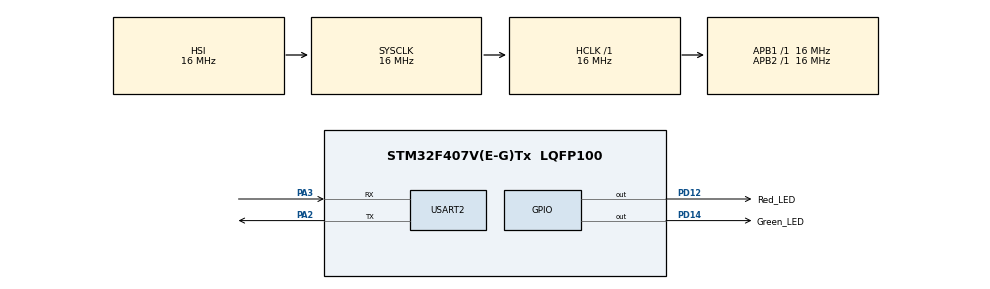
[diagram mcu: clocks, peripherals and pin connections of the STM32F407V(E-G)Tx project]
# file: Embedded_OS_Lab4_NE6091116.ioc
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Mcu.Family=STM32F4
Mcu.Name=STM32F407V(E-G)Tx
Mcu.Package=LQFP100
NVIC.PriorityGroup=NVIC_PRIORITYGROUP_4
NVIC.TIM6_DAC_IRQn=true\:0\:0\:false\:false\:true\:false\:true
NVIC.TimeBase=TIM6_DAC_IRQn
NVIC.TimeBaseIP=TIM6
PA13.Mode=Serial_Wire
PA13.Signal=SYS_JTMS-SWDIO
PA14.Mode=Serial_Wire
PA14.Signal=SYS_JTCK-SWCLK
PA2.Mode=Asynchronous
PA2.Signal=USART2_TX
PA3.Mode=Asynchronous
PA3.Signal=USART2_RX
PD12.GPIO_Label=Red_LED
PD12.Signal=GPIO_Output
PD14.GPIO_Label=Green_LED
PD14.Signal=GPIO_Output
ProjectManager.HeapSize=0x200
ProjectManager.StackSize=0x400
ProjectManager.TargetToolchain=STM32CubeIDE
RCC.AHBFreq_Value=16000000
RCC.APB1Freq_Value=16000000
RCC.APB2Freq_Value=16000000
RCC.CortexFreq_Value=16000000
RCC.HSE_VALUE=25000000
RCC.HSI_VALUE=16000000
RCC.LSE_VALUE=32768
RCC.SYSCLKFreq_VALUE=16000000
RCC.VCOOutputFreq_Value=192000000
USART2.VirtualMode=VM_ASYNC
VP_SYS_VS_tim6.Mode=TIM6
board=custom

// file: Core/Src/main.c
/* USER CODE BEGIN Header */
/**
  ******************************************************************************
  * @file           : main.c
  * @brief          : Main program body
  ******************************************************************************
  * @attention
  *
  * <h2><center>&copy; Copyright (c) 2021 STMicroelectronics.
  * All rights reserved.</center></h2>
  *
  * This software component is licensed by ST under BSD 3-Clause license,
  * the "License"; You may not use this file except in compliance with the
  * License. You may obtain a copy of the License at:
  *                        opensource.org/licenses/BSD-3-Clause
  *
  ******************************************************************************
  */
/* USER CODE END Header */
#include "main.h"

/* USER CODE BEGIN Includes */
#include "stdio.h"
#include "string.h"
#include "stdlib.h"
#include "FreeRTOS.h"
#include "task.h"
/* USER CODE END Includes */

UART_HandleTypeDef huart2;

void SystemClock_Config(void);
static void MX_GPIO_Init(void);
static void MX_USART2_UART_Init(void);

/* USER CODE BEGIN 0 */
void RedLEDTask(void const * argument);
void GreenLEDTask(void const * argument);
void Task1(void const * argument);
void Task2(void const * argument);
void Task3(void const * argument);
void PrintTask(void const * argument);
/* USER CODE END 0 */

int main(void)
{

  /* MCU Configuration--------------------------------------------------------*/

  /* Reset of all peripherals, Initializes the Flash interface and the Systick. */
  HAL_Init();

  /* Configure the system clock */
  SystemClock_Config();

  /* Initialize all configured peripherals */
  MX_GPIO_Init();
  MX_USART2_UART_Init();
  /* USER CODE BEGIN 2 */
  xTaskCreate(RedLEDTask,"RedLEDTask",100,NULL,0,NULL);
  xTaskCreate(Task1,"Task1",50,NULL,0,NULL);
  xTaskCreate(Task2,"Task2",30,NULL,0,NULL);
  xTaskCreate(GreenLEDTask,"GreenLEDTask",130,NULL,0,NULL);
  xTaskCreate(Task3,"Task3",40,NULL,0,NULL);
  xTaskCreate(PrintTask,"PrintTask",130,NULL,0,NULL);
  vTaskStartScheduler();
  /* USER CODE END 2 */

  /* Infinite loop */
  while (1)
  {

  }
}

void SystemClock_Config(void)
{
  RCC_OscInitTypeDef RCC_OscInitStruct = {0};
  RCC_ClkInitTypeDef RCC_ClkInitStruct = {0};

  /** Configure the main internal regulator output voltage
  */
  __HAL_RCC_PWR_CLK_ENABLE();
  __HAL_PWR_VOLTAGESCALING_CONFIG(PWR_REGULATOR_VOLTAGE_SCALE1);
  /** Initializes the RCC Oscillators according to the specified parameters
  * in the RCC_OscInitTypeDef structure.
  */
  RCC_OscInitStruct.OscillatorType = RCC_OSCILLATORTYPE_HSI;
  RCC_OscInitStruct.HSIState = RCC_HSI_ON;
  RCC_OscInitStruct.HSICalibrationValue = RCC_HSICALIBRATION_DEFAULT;
  RCC_OscInitStruct.PLL.PLLState = RCC_PLL_NONE;
  if (HAL_RCC_OscConfig(&RCC_OscInitStruct) != HAL_OK)
  {
    Error_Handler();
  }
  /** Initializes the CPU, AHB and APB buses clocks
  */
  RCC_ClkInitStruct.ClockType = RCC_CLOCKTYPE_HCLK|RCC_CLOCKTYPE_SYSCLK
                              |RCC_CLOCKTYPE_PCLK1|RCC_CLOCKTYPE_PCLK2;
  RCC_ClkInitStruct.SYSCLKSource = RCC_SYSCLKSOURCE_HSI;
  RCC_ClkInitStruct.AHBCLKDivider = RCC_SYSCLK_DIV1;
  RCC_ClkInitStruct.APB1CLKDivider = RCC_HCLK_DIV1;
  RCC_ClkInitStruct.APB2CLKDivider = RCC_HCLK_DIV1;

  if (HAL_RCC_ClockConfig(&RCC_ClkInitStruct, FLASH_LATENCY_0) != HAL_OK)
  {
    Error_Handler();
  }
}

static void MX_USART2_UART_Init(void)
{

  huart2.Instance = USART2;
  huart2.Init.BaudRate = 115200;
  huart2.Init.WordLength = UART_WORDLENGTH_8B;
  huart2.Init.StopBits = UART_STOPBITS_1;
  huart2.Init.Parity = UART_PARITY_NONE;
  huart2.Init.Mode = UART_MODE_TX_RX;
  huart2.Init.HwFlowCtl = UART_HWCONTROL_NONE;
  huart2.Init.OverSampling = UART_OVERSAMPLING_16;
  if (HAL_UART_Init(&huart2) != HAL_OK)
  {
    Error_Handler();
  }

}

static void MX_GPIO_Init(void)
{
  GPIO_InitTypeDef GPIO_InitStruct = {0};

  /* GPIO Ports Clock Enable */
  __HAL_RCC_GPIOA_CLK_ENABLE();
  __HAL_RCC_GPIOD_CLK_ENABLE();

  /*Configure GPIO pin Output Level */
  HAL_GPIO_WritePin(GPIOD, Red_LED_Pin|Green_LED_Pin, GPIO_PIN_RESET);

  /*Configure GPIO pins : Red_LED_Pin Green_LED_Pin */
  GPIO_InitStruct.Pin = Red_LED_Pin|Green_LED_Pin;
  GPIO_InitStruct.Mode = GPIO_MODE_OUTPUT_PP;
  GPIO_InitStruct.Pull = GPIO_NOPULL;
  GPIO_InitStruct.Speed = GPIO_SPEED_FREQ_LOW;
  HAL_GPIO_Init(GPIOD, &GPIO_InitStruct);

}

/* USER CODE BEGIN 4 */
void RedLEDTask(void const * argument)
{
	for(;;)
	{
		HAL_GPIO_TogglePin(GPIOD, GPIO_PIN_14);
		vTaskDelay(500);
	}
}
void GreenLEDTask(void const * argument)
{
	for(;;)
	{
		HAL_GPIO_TogglePin(GPIOD, GPIO_PIN_12);
		vTaskDelay(1000);
	}
}
void Task1(void const * argument)
{
	for(;;)
	{
		vTaskDelete( NULL );
	}
}
void Task2(void const * argument)
{
	for(;;)
	{
		vTaskDelete( NULL );
	}
}

void Task3(void const * argument)
{
	for(;;)
	{
		vTaskDelete( NULL );
	}
}
void PrintTask(void const * argument)
{
	for(;;)
	{
		vPrintFreeList();
		vTaskDelay(3000);
	}
}
/* USER CODE END 4 */

 /**
  * @brief  Period elapsed callback in non blocking mode
  * @note   This function is called  when TIM6 interrupt took place, inside
  * HAL_TIM_IRQHandler(). It makes a direct call to HAL_IncTick() to increment
  * a global variable "uwTick" used as application time base.
  * @param  htim : TIM handle
  * @retval None
  */
void HAL_TIM_PeriodElapsedCallback(TIM_HandleTypeDef *htim)
{
  if (htim->Instance == TIM6) {
    HAL_IncTick();
  }
}

void Error_Handler(void)
{
  __disable_irq();
  while (1)
  {
  }
}

/************************ (C) COPYRIGHT STMicroelectronics *****END OF FILE****/
